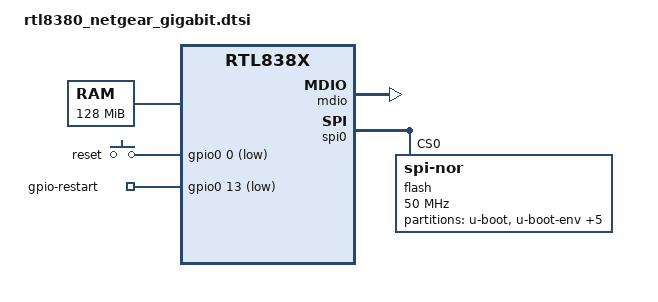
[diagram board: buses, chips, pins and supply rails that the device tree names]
// SPDX-License-Identifier: GPL-2.0-or-later

#include "rtl838x.dtsi"

#include <dt-bindings/input/input.h>
#include <dt-bindings/gpio/gpio.h>
#include <dt-bindings/leds/common.h>
#include <dt-bindings/leds/realtek-led-trigger.h>

/ {
	compatible = "realtek,rtl838x-soc";

	memory@0 {
		device_type = "memory";
		reg = <0x0 0x8000000>;
	};

	keys {
		pinctrl-names = "default";
		pinctrl-0 = <&pinmux_disable_sys_led>;

		compatible = "gpio-keys";

		mode {
			label = "reset";
			gpios = <&gpio0 0 GPIO_ACTIVE_LOW>;
			linux,code = <KEY_RESTART>;
		};
	};

	gpio-restart {
		compatible = "gpio-restart";
		gpios = <&gpio0 13 GPIO_ACTIVE_LOW>;
		open-source;
	};

	gpio1: rtl8231-gpio {
		compatible = "realtek,rtl8231-gpio";
		#gpio-cells = <2>;
		gpio-controller;
		indirect-access-bus-id = <31>;
	};

	port-leds {
		compatible = "realtek,maple-port-led";
		#address-cells = <3>;
		#size-cells = <0>;

		realtek,output-mode = "serial";

		led@8.0.0 {
			reg = <8 0 0>;
			label = "green:lan-1";
			color = <LED_COLOR_ID_GREEN>;
			function = LED_FUNCTION_LAN;
			function-enumerator = <1>;
			linux,default-trigger = "realtek-switchport";
			realtek,port-led-trigger = <(RTL_LED_ACT | RTL_LED_LINK_1000)>;
		};
		led@8.1.0 {
			reg = <8 1 0>;
			label = "amber:lan-1";
			color = <LED_COLOR_ID_AMBER>;
			function = LED_FUNCTION_LAN;
			function-enumerator = <1>;
			linux,default-trigger = "realtek-switchport";
			realtek,port-led-trigger = <(RTL_LED_ACT | RTL_LED_LINK_10_100)>;
		};
		led@9.0.0 {
			reg = <9 0 0>;
			label = "green:lan-2";
			color = <LED_COLOR_ID_GREEN>;
			function = LED_FUNCTION_LAN;
			function-enumerator = <2>;
			linux,default-trigger = "realtek-switchport";
			realtek,port-led-trigger = <(RTL_LED_ACT | RTL_LED_LINK_1000)>;
		};
		led@9.1.0 {
			reg = <9 1 0>;
			label = "amber:lan-2";
			color = <LED_COLOR_ID_AMBER>;
			function = LED_FUNCTION_LAN;
			function-enumerator = <2>;
			linux,default-trigger = "realtek-switchport";
			realtek,port-led-trigger = <(RTL_LED_ACT | RTL_LED_LINK_10_100)>;
		};
		led@10.0.0 {
			reg = <10 0 0>;
			label = "green:lan-3";
			color = <LED_COLOR_ID_GREEN>;
			function = LED_FUNCTION_LAN;
			function-enumerator = <3>;
			linux,default-trigger = "realtek-switchport";
			realtek,port-led-trigger = <(RTL_LED_ACT | RTL_LED_LINK_1000)>;
		};
		led@10.1.0 {
			reg = <10 1 0>;
			label = "amber:lan-3";
			color = <LED_COLOR_ID_AMBER>;
			function = LED_FUNCTION_LAN;
			function-enumerator = <3>;
			linux,default-trigger = "realtek-switchport";
			realtek,port-led-trigger = <(RTL_LED_ACT | RTL_LED_LINK_10_100)>;
		};
		led@11.0.0 {
			reg = <11 0 0>;
			label = "green:lan-4";
			color = <LED_COLOR_ID_GREEN>;
			function = LED_FUNCTION_LAN;
			function-enumerator = <4>;
			linux,default-trigger = "realtek-switchport";
			realtek,port-led-trigger = <(RTL_LED_ACT | RTL_LED_LINK_1000)>;
		};
		led@11.1.0 {
			reg = <11 1 0>;
			label = "amber:lan-4";
			color = <LED_COLOR_ID_AMBER>;
			function = LED_FUNCTION_LAN;
			function-enumerator = <4>;
			linux,default-trigger = "realtek-switchport";
			realtek,port-led-trigger = <(RTL_LED_ACT | RTL_LED_LINK_10_100)>;
		};
		led@12.0.0 {
			reg = <12 0 0>;
			label = "green:lan-5";
			color = <LED_COLOR_ID_GREEN>;
			function = LED_FUNCTION_LAN;
			function-enumerator = <5>;
			linux,default-trigger = "realtek-switchport";
			realtek,port-led-trigger = <(RTL_LED_ACT | RTL_LED_LINK_1000)>;
		};
		led@12.1.0 {
			reg = <12 1 0>;
			label = "amber:lan-5";
			color = <LED_COLOR_ID_AMBER>;
			function = LED_FUNCTION_LAN;
			function-enumerator = <5>;
			linux,default-trigger = "realtek-switchport";
			realtek,port-led-trigger = <(RTL_LED_ACT | RTL_LED_LINK_10_100)>;
		};
		led@13.0.0 {
			reg = <13 0 0>;
			label = "green:lan-6";
			color = <LED_COLOR_ID_GREEN>;
			function = LED_FUNCTION_LAN;
			function-enumerator = <6>;
			linux,default-trigger = "realtek-switchport";
			realtek,port-led-trigger = <(RTL_LED_ACT | RTL_LED_LINK_1000)>;
		};
		led@13.1.0 {
			reg = <13 1 0>;
			label = "amber:lan-6";
			color = <LED_COLOR_ID_AMBER>;
			function = LED_FUNCTION_LAN;
			function-enumerator = <6>;
			linux,default-trigger = "realtek-switchport";
			realtek,port-led-trigger = <(RTL_LED_ACT | RTL_LED_LINK_10_100)>;
		};
		led@14.0.0 {
			reg = <14 0 0>;
			label = "green:lan-7";
			color = <LED_COLOR_ID_GREEN>;
			function = LED_FUNCTION_LAN;
			function-enumerator = <7>;
			linux,default-trigger = "realtek-switchport";
			realtek,port-led-trigger = <(RTL_LED_ACT | RTL_LED_LINK_1000)>;
		};
		led@14.1.0 {
			reg = <14 1 0>;
			label = "amber:lan-7";
			color = <LED_COLOR_ID_AMBER>;
			function = LED_FUNCTION_LAN;
			function-enumerator = <7>;
			linux,default-trigger = "realtek-switchport";
			realtek,port-led-trigger = <(RTL_LED_ACT | RTL_LED_LINK_10_100)>;
		};
		led@15.0.0 {
			reg = <15 0 0>;
			label = "green:lan-8";
			color = <LED_COLOR_ID_GREEN>;
			function = LED_FUNCTION_LAN;
			function-enumerator = <8>;
			linux,default-trigger = "realtek-switchport";
			realtek,port-led-trigger = <(RTL_LED_ACT | RTL_LED_LINK_1000)>;
		};
		led@15.1.0 {
			reg = <15 1 0>;
			label = "amber:lan-8";
			color = <LED_COLOR_ID_AMBER>;
			function = LED_FUNCTION_LAN;
			function-enumerator = <8>;
			linux,default-trigger = "realtek-switchport";
			realtek,port-led-trigger = <(RTL_LED_ACT | RTL_LED_LINK_10_100)>;
		};
	};
};

&ethernet0 {
	mdio: mdio-bus {
		compatible = "realtek,rtl838x-mdio";
		regmap = <&ethernet0>;
		#address-cells = <1>;
		#size-cells = <0>;

		INTERNAL_PHY(8)
		INTERNAL_PHY(9)
		INTERNAL_PHY(10)
		INTERNAL_PHY(11)
		INTERNAL_PHY(12)
		INTERNAL_PHY(13)
		INTERNAL_PHY(14)
		INTERNAL_PHY(15)
	};
};

&spi0 {
	status = "okay";

	flash@0 {
		compatible = "jedec,spi-nor";
		reg = <0>;
		spi-max-frequency = <50000000>;

		partitions {
			compatible = "fixed-partitions";
			#address-cells = <1>;
			#size-cells = <1>;

			partition@0 {
				label = "u-boot";
				reg = <0x0000000 0x00e0000>;
				read-only;
			};

			partition@e0000 {
				label = "u-boot-env";
				reg = <0x00e0000 0x0010000>;
			};

			partition@f0000 {
				label = "u-boot-env2";
				reg = <0x00f0000 0x0010000>;
			};

			partition@100000 {
				label = "jffs";
				reg = <0x0100000 0x0100000>;
				read-only;
			};

			partition@200000 {
				label = "jffs2";
				reg = <0x0200000 0x0100000>;
				read-only;
			};

			firmware: partition@300000 {
				label = "firmware";
				compatible = "openwrt,uimage", "denx,uimage";
				reg = <0x0300000 0x0e80000>;
			};

			partition@1180000 {
				label = "runtime2";
				reg = <0x1180000 0x0e80000>;
				read-only;
			};
		};
	};
};

&switch0 {
	ports {
		#address-cells = <1>;
		#size-cells = <0>;

		SWITCH_PORT(8, 1, internal)
		SWITCH_PORT(9, 2, internal)
		SWITCH_PORT(10, 3, internal)
		SWITCH_PORT(11, 4, internal)
		SWITCH_PORT(12, 5, internal)
		SWITCH_PORT(13, 6, internal)
		SWITCH_PORT(14, 7, internal)
		SWITCH_PORT(15, 8, internal)

		port@28 {
			ethernet = <&ethernet0>;
			reg = <28>;
			phy-mode = "internal";
			fixed-link {
				speed = <1000>;
				full-duplex;
			};
		};
	};
};
